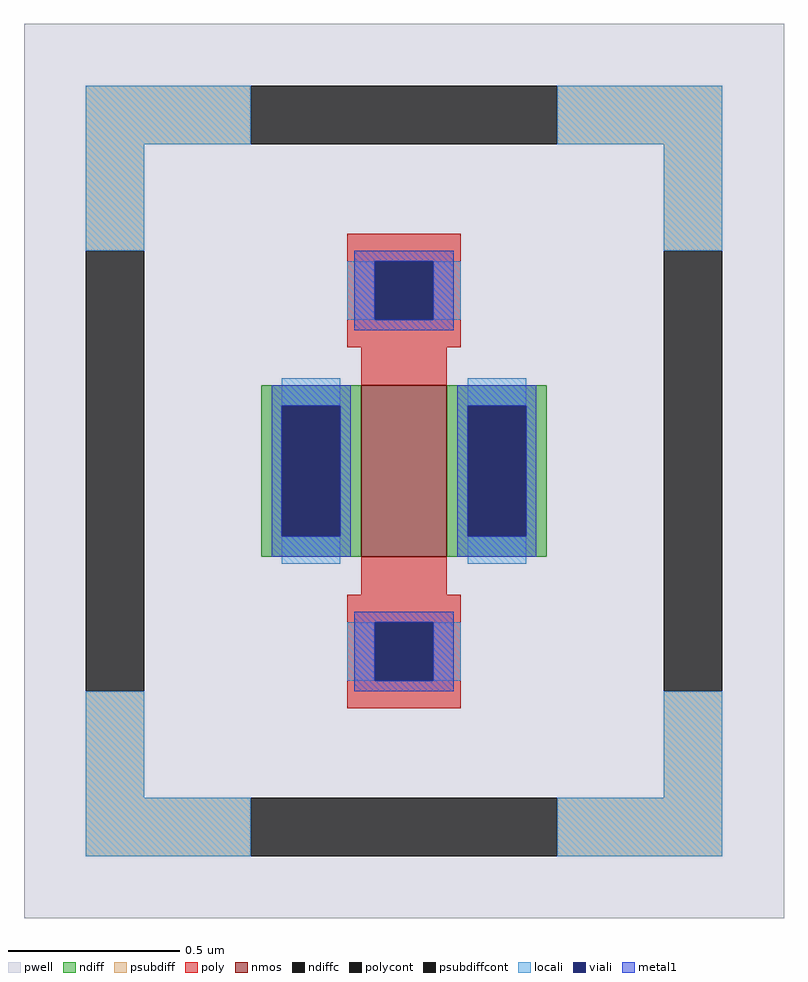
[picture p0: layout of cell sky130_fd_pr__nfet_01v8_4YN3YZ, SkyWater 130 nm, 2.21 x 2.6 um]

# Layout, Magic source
magic
tech sky130A
magscale 1 2
<< pwell >>
rect -221 -260 221 260
<< nmos >>
rect -25 -50 25 50
<< ndiff >>
rect -83 38 -25 50
rect -83 -38 -71 38
rect -37 -38 -25 38
rect -83 -50 -25 -38
rect 25 38 83 50
rect 25 -38 37 38
rect 71 -38 83 38
rect 25 -50 83 -38
<< ndiffc >>
rect -71 -38 -37 38
rect 37 -38 71 38
<< psubdiff >>
rect -185 190 -89 224
rect 89 190 185 224
rect -185 128 -151 190
rect 151 128 185 190
rect -185 -190 -151 -128
rect 151 -190 185 -128
rect -185 -224 -89 -190
rect 89 -224 185 -190
<< psubdiffcont >>
rect -89 190 89 224
rect -185 -128 -151 128
rect 151 -128 185 128
rect -89 -224 89 -190
<< poly >>
rect -33 122 33 138
rect -33 88 -17 122
rect 17 88 33 122
rect -33 72 33 88
rect -25 50 25 72
rect -25 -72 25 -50
rect -33 -88 33 -72
rect -33 -122 -17 -88
rect 17 -122 33 -88
rect -33 -138 33 -122
<< polycont >>
rect -17 88 17 122
rect -17 -122 17 -88
<< locali >>
rect -185 190 -89 224
rect 89 190 185 224
rect -185 128 -151 190
rect 151 128 185 190
rect -33 88 -17 122
rect 17 88 33 122
rect -71 38 -37 54
rect -71 -54 -37 -38
rect 37 38 71 54
rect 37 -54 71 -38
rect -33 -122 -17 -88
rect 17 -122 33 -88
rect -185 -190 -151 -128
rect 151 -190 185 -128
rect -185 -224 -89 -190
rect 89 -224 185 -190
<< viali >>
rect -17 88 17 122
rect -71 -38 -37 38
rect 37 -38 71 38
rect -17 -122 17 -88
<< metal1 >>
rect -29 122 29 128
rect -29 88 -17 122
rect 17 88 29 122
rect -29 82 29 88
rect -77 38 -31 50
rect -77 -38 -71 38
rect -37 -38 -31 38
rect -77 -50 -31 -38
rect 31 38 77 50
rect 31 -38 37 38
rect 71 -38 77 38
rect 31 -50 77 -38
rect -29 -88 29 -82
rect -29 -122 -17 -88
rect 17 -122 29 -88
rect -29 -128 29 -122
<< properties >>
string FIXED_BBOX -168 -207 168 207
string gencell sky130_fd_pr__nfet_01v8
string library sky130
string parameters w 0.5 l 0.25 m 1 nf 1 diffcov 100 polycov 100 guard 1 glc 1 grc 1 gtc 1 gbc 1 tbcov 100 rlcov 100 topc 1 botc 1 poverlap 0 doverlap 1 lmin 0.15 wmin 0.42 compatible {sky130_fd_pr__nfet_01v8 sky130_fd_pr__nfet_01v8_lvt  sky130_fd_bs_flash__special_sonosfet_star  sky130_fd_pr__nfet_g5v0d10v5 sky130_fd_pr__nfet_05v0_nvt  sky130_fd_pr__nfet_03v3_nvt} full_metal 1 viasrc 100 viadrn 100 viagate 100 viagb 0 viagr 0 viagl 0 viagt 0
<< end >>
